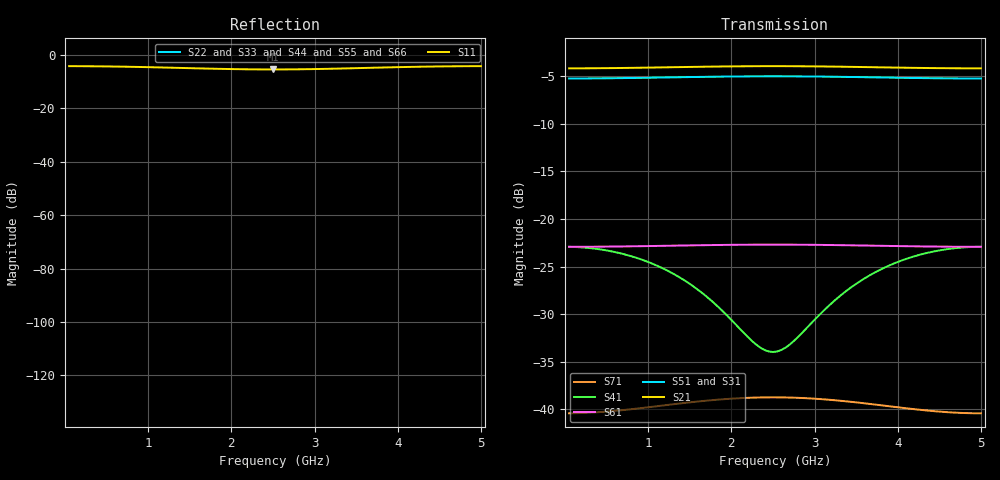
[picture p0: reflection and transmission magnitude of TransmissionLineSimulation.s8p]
# MHz MA S R 50.0
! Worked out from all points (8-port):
!   100 points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, 50 MHz to 5 GHz, reference 50 ohm
!   strongest paths, dB at 50 MHz, 1.3 GHz, 2.55 GHz, 3.8 GHz, 5 GHz:
!     S21: -4.2, -4.0, -3.9, -4.1, -4.2
!     S51: -5.2, -5.1, -5.0, -5.1, -5.2
!     S31: -5.2, -5.1, -5.1, -5.2, -5.2
!     S61: -22.9, -22.8, -22.7, -22.8, -22.9
!     S41: -22.9, -25.7, -33.9, -25.3, -22.9
!     S71: -40.4, -39.5, -38.7, -39.6, -40.4
!   lowest |S11| = -5.4 dB at 2.5 GHz (marker M1), VSWR 3.33, Z = 166 + j0 ohm
!   |S11| at or under -10 dB: nowhere
